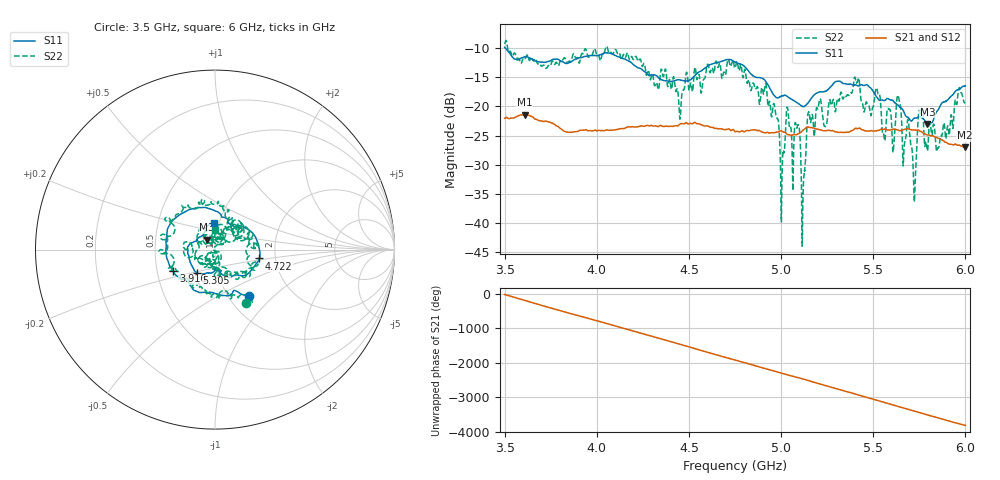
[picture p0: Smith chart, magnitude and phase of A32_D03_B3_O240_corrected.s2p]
! Created with skrf 1.9.0 (http://scikit-rf.org).
# Hz S RI R 50.0
!freq ReS11 ImS11 ReS21 ImS21 ReS12 ImS12 ReS22 ImS22
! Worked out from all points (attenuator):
!   1601 points, 3.5 GHz to 6 GHz, reference 50 ohm
!   highest |S21| = -21.40 dB at 3.609 GHz (marker M1); lowest = -27.0 dB at 5.997 GHz (marker M2)
!   lowest |S11| = -23.0 dB at 5.794 GHz (marker M3), VSWR 1.15, Z = 45.6 + j5.13 ohm
!   |S11| at or under -10 dB: 3.505 GHz to end of sweep
!   |S22| runs from -44.0 to -8.7 dB; largest |S21 - S12| = 0.00095
!   S11 on the Smith chart (normalised r, x): 3.5 GHz: 1.25, -0.72; 3.916 GHz: 0.61, -0.16; 4.722 GHz: 1.65, -0.17; 5.305 GHz: 0.79, -0.21; 6 GHz: 0.94, +0.29
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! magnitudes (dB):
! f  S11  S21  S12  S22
! 3.5 GHz  -9.9  -22.0  -22.0  -9.3
! 3.609 GHz  -11.5  -21.4  -21.4  -11.8
! 3.916 GHz  -11.6  -24.1  -24.1  -11.2
! 3.917 GHz  -11.6  -24.1  -24.1  -11.0
! 4.334 GHz  -15.1  -23.5  -23.4  -17.1
! 4.722 GHz  -12.0  -24.0  -24.0  -12.8
! 4.75 GHz  -12.4  -24.3  -24.3  -13.4
! 4.969 GHz  -18.3  -24.5  -24.4  -20.9
! 5.006 GHz  -18.2  -24.3  -24.2  -30.5
! 5.034 GHz  -18.3  -24.8  -24.7  -20.2
! 5.088 GHz  -19.4  -24.8  -24.8  -23.6
! 5.12 GHz  -20.0  -24.1  -24.0  -34.1
! 5.167 GHz  -18.5  -23.6  -23.6  -21.5
! 5.305 GHz  -15.7  -24.4  -24.3  -18.7
! 5.584 GHz  -18.7  -24.0  -24.0  -20.4
! 5.611 GHz  -19.1  -23.9  -23.8  -26.9
! 5.639 GHz  -20.0  -24.1  -24.1  -18.7
! 5.722 GHz  -22.0  -24.0  -24.0  -35.6
! 5.755 GHz  -21.8  -24.3  -24.2  -21.1
! 5.794 GHz  -23.0  -24.9  -24.9  -27.7
! 5.997 GHz  -16.5  -27.0  -27.0  -19.4
! 6 GHz  -16.5  -27.0  -27.0  -19.3
